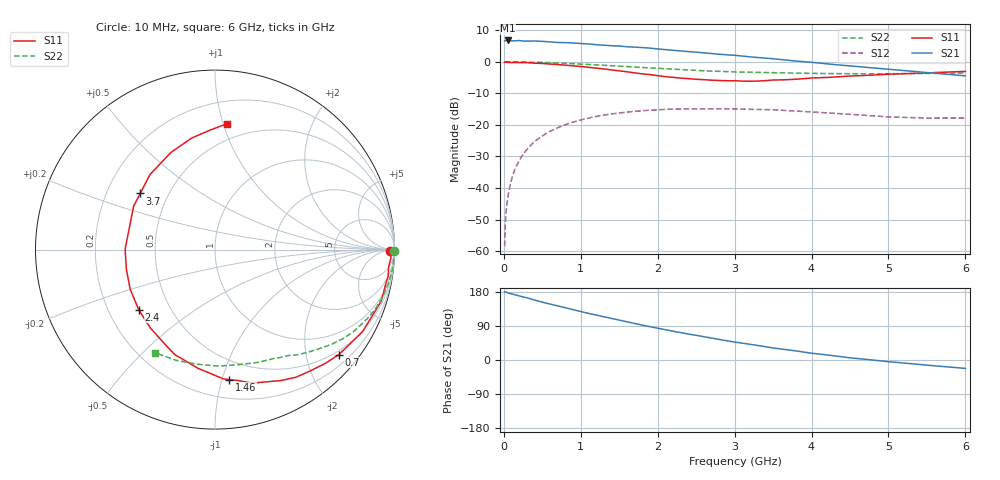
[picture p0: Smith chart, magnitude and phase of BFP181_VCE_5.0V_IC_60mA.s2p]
! Infineon Technologies  Discrete & RF Semiconductors
! BFP181
! VCE = 5.0 V,  IC =  60 mA
! Common Emitter S-Parameters:  Jan 2016
# GHz  S  MA  R  50
!  f  S11  S21  S12  S22
! GHz  MAG  ANG  MAG  ANG  MAG  ANG  MAG  ANG
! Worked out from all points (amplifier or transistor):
!   210 points, 10 MHz to 6 GHz, reference 50 ohm
!   highest |S21| = 6.7 dB at 50 MHz (marker M1)
!   |S21| within 3 dB of that: start of sweep to 2.143 GHz
!   unconditionally stable (mu >= 1): 3.628 GHz to end of sweep
!   at 185 MHz: K = 0.07, MSG = 19.3 dB, |S12| = -32.0 dB
!   at 1.52 GHz: K = 0.46, MSG = 10.6 dB, |S12| = -16.2 dB
!   at 6 GHz: K = 1.40, MAG = 2.9 dB, |S12| = -17.8 dB
!   S11 on the Smith chart (normalised r, x): 10 MHz: 72, -32; 700 MHz: 0.41, -2.67; 1.46 GHz: 0.34, -1.05; 2.4 GHz: 0.33, -0.31; 3.7 GHz: 0.35, +0.30; 6 GHz: 0.37, +1.03
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0.01  0.9771 -0.6  2.155 179.7  0.0012 76.1  0.9996 -0.3
0.02  0.9811 -1.2  2.152 179.6  0.0029 94.4  0.9987 -0.6
0.035  0.981 -2.0  2.163 178.4  0.0049 91.9  0.9982 -1.0
0.05  0.9811 -2.7  2.174 177.2  0.0069 90.9  0.9977 -1.5
0.085  0.9746 -4.9  2.15 175.4  0.0116 85.4  0.9974 -2.4
0.13  0.9742 -7.5  2.143 172.9  0.0179 83.4  0.9963 -3.6
0.2  0.97 -11.5  2.168 169.1  0.0271 81.7  0.9948 -5.6
0.26  0.9695 -15.1  2.125 165.9  0.0355 79.5  0.9917 -7.3
0.4  0.9496 -23.3  2.137 158.1  0.0544 73.8  0.9843 -11.1
0.7  0.9047 -40.3  2.016 142.6  0.0901 61.9  0.9581 -19.0
0.9  0.8593 -51.9  1.99 132.4  0.1109 54.2  0.9336 -24.0
1.02  0.8364 -58.7  1.936 126.7  0.1212 50.1  0.9177 -26.8
1.46  0.7281 -83.8  1.781 106.9  0.1525 35.9  0.8576 -36.1
1.8  0.6425 -104.5  1.678 91.7  0.1678 26.7  0.811 -42.2
2.02  0.5967 -117.7  1.586 83.0  0.1745 21.1  0.7839 -45.9
2.4  0.5414 -141.8  1.449 68.5  0.18 12.3  0.7418 -52.3
2.8  0.5057 -167.5  1.315 54.2  0.1807 4.7  0.7063 -58.2
3.1  0.4937 174.1  1.229 44.5  0.1775 -0.4  0.6857 -62.8
3.7  0.521 143.1  1.054 26.6  0.1682 -8.1  0.6636 -72.6
4.1  0.5578 127.4  0.953 15.7  0.1578 -12.0  0.6521 -80.1
5.1  0.6396 99.9  0.743 -6.2  0.1327 -13.8  0.646 -100.8
6  0.7041 84.5  0.598 -22.2  0.1288 -7.5  0.6647 -120.3
